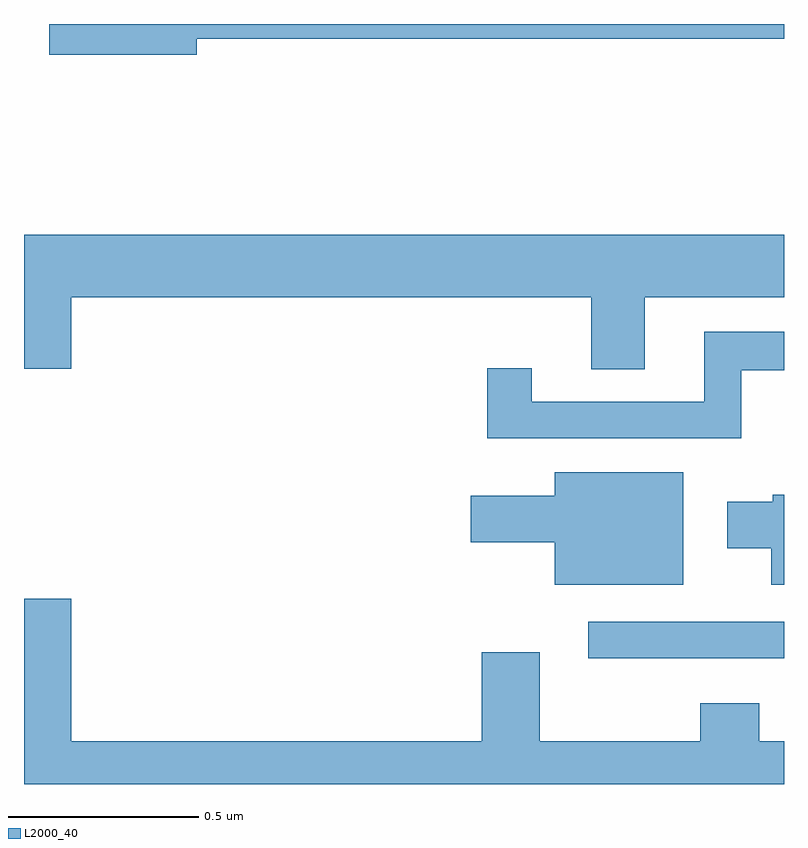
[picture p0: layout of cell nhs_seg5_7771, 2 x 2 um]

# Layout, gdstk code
import gdstk
lib = gdstk.Library(unit=1e-6, precision=1e-09)
def R(c, l, rs):  # rectangles x0, y0, x1, y1
    for r in rs: c.add(gdstk.rectangle(r[:2], r[2:], *l))
def P(c, l, *ps):  # polygons
    for p in ps: c.add(gdstk.Polygon(p, *l))
L2000_40 = (2000, 40)

nhs_seg5_7771 = lib.new_cell('nhs_seg5_7771')
R(nhs_seg5_7771, L2000_40, [(214.485,869.13,215,869.226)])
P(nhs_seg5_7771, L2000_40, [(213.454,870.76),(215,870.76),(215,870.799),(213.066,870.799),(213.066,870.718),(213.454,870.718)],
  [(214.633,870.08),(215,870.08),(215,870.244),(213,870.244),(213,869.892),(213.124,869.892),(213.124,870.08),(214.493,870.08),(214.493,869.89),(214.633,869.89)],
  [(214.888,869.888),(215,869.888),(215,869.989),(214.79,869.989),(214.79,869.805),(214.336,869.805),(214.336,869.893),(214.219,869.893),(214.219,869.709),(214.888,869.709)],
  [(214.735,869.62),(214.397,869.62),(214.397,869.557),(214.176,869.557),(214.176,869.435),(214.397,869.435),(214.397,869.324),(214.735,869.324)],
  [(215,869.56),(214.971,869.56),(214.971,869.542),(214.85,869.542),(214.85,869.42),(214.967,869.42),(214.967,869.324),(215,869.324)],
  [(215,868.912),(214.935,868.912),(214.935,869.011),(214.78,869.011),(214.78,868.912),(214.357,868.912),(214.357,869.146),(214.205,869.146),(214.205,868.912),(213.124,868.912),(213.124,869.287),(213,869.287),(213,868.799),(215,868.799)])

lib.write_gds('nhs_seg5_7771.gds')
